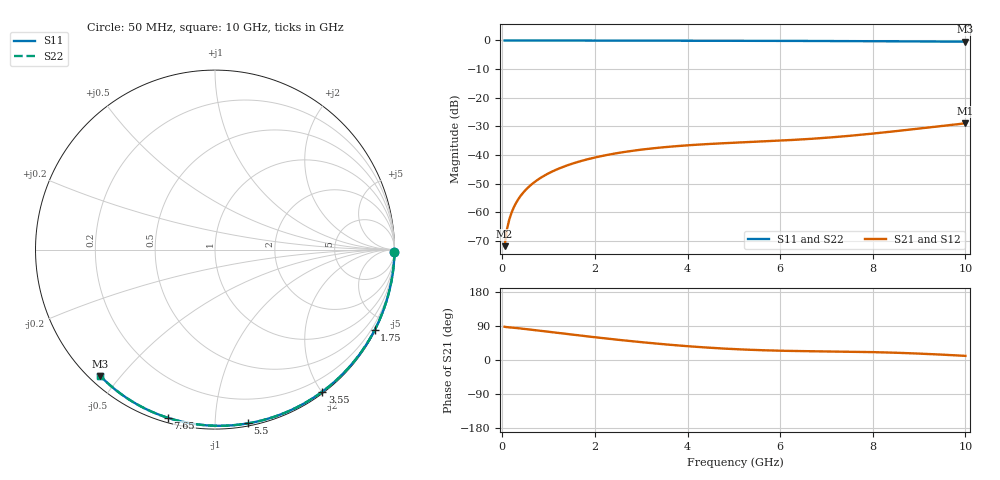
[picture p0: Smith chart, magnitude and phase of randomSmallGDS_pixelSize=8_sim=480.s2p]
! freq	dB(S11)	phase(S11)	dB(S12)	phase(S12)
!  dB(S21)	phase(S21)	dB(S22)	phase(S22)
!S-par simulation data
#  GHz  S  DB  R 50
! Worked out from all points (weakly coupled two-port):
!   200 points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, 50 MHz to 10 GHz, reference 50 ohm
!   highest |S21| = -28.97 dB at 10 GHz (marker M1); lowest = -71.9 dB at 50 MHz (marker M2)
!   lowest |S11| = -0.4 dB at 10 GHz (marker M3), VSWR 39.67, Z = 1.51 - j22.1 ohm
!   |S11| at or under -10 dB: nowhere
!   |S22| runs from -0.4 to 0.0 dB; largest |S21 - S12| = 0
!   S11 on the Smith chart (normalised r, x): 50 MHz: open; 1.75 GHz: 0.04, -4.20; 3.55 GHz: 0.02, -2.01; 5.5 GHz: 0.02, -1.21; 7.65 GHz: 0.02, -0.76; 10 GHz: 0.03, -0.44
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0.05  -0.00 -0.8  -71.89 87.6  -71.89 87.6  -0.00 -0.8
0.1  -0.00 -1.6  -66.05 86.7  -66.05 86.7  -0.00 -1.6
0.15  -0.00 -2.3  -62.62 86.2  -62.62 86.2  -0.00 -2.3
0.2  -0.00 -3.1  -60.17 85.7  -60.17 85.7  -0.00 -3.1
0.25  -0.00 -3.9  -58.26 85.1  -58.26 85.1  -0.00 -3.9
0.35  -0.00 -5.4  -55.37 83.8  -55.37 83.8  -0.00 -5.4
0.5  -0.01 -7.8  -52.31 81.8  -52.31 81.8  -0.01 -7.8
0.7  -0.01 -10.8  -49.43 78.9  -49.43 78.9  -0.01 -10.8
1  -0.02 -15.4  -46.43 74.4  -46.43 74.4  -0.02 -15.4
1.35  -0.03 -20.7  -43.96 69.3  -43.96 69.3  -0.03 -20.7
1.75  -0.03 -26.8  -41.91 63.6  -41.91 63.6  -0.03 -26.8
2.5  -0.05 -37.9  -39.32 53.3  -39.32 53.3  -0.05 -37.9
3.4  -0.07 -50.8  -37.45 42.5  -37.45 42.5  -0.07 -50.8
3.55  -0.07 -53.0  -37.22 40.9  -37.22 40.9  -0.07 -52.9
4.3  -0.09 -63.3  -36.33 33.8  -36.33 33.8  -0.09 -63.3
5.05  -0.11 -73.4  -35.71 28.5  -35.71 28.5  -0.11 -73.4
5.5  -0.13 -79.2  -35.38 26.3  -35.38 26.3  -0.13 -79.2
6.7  -0.18 -94.3  -34.34 23.1  -34.34 23.1  -0.18 -94.2
7.65  -0.24 -105.6  -33.10 21.6  -33.10 21.6  -0.24 -105.6
8.35  -0.29 -113.7  -31.95 19.7  -31.95 19.7  -0.28 -113.7
9.15  -0.35 -122.8  -30.52 16.1  -30.52 16.1  -0.35 -122.8
10  -0.44 -132.3  -28.97 10.9  -28.97 10.9  -0.44 -132.2
